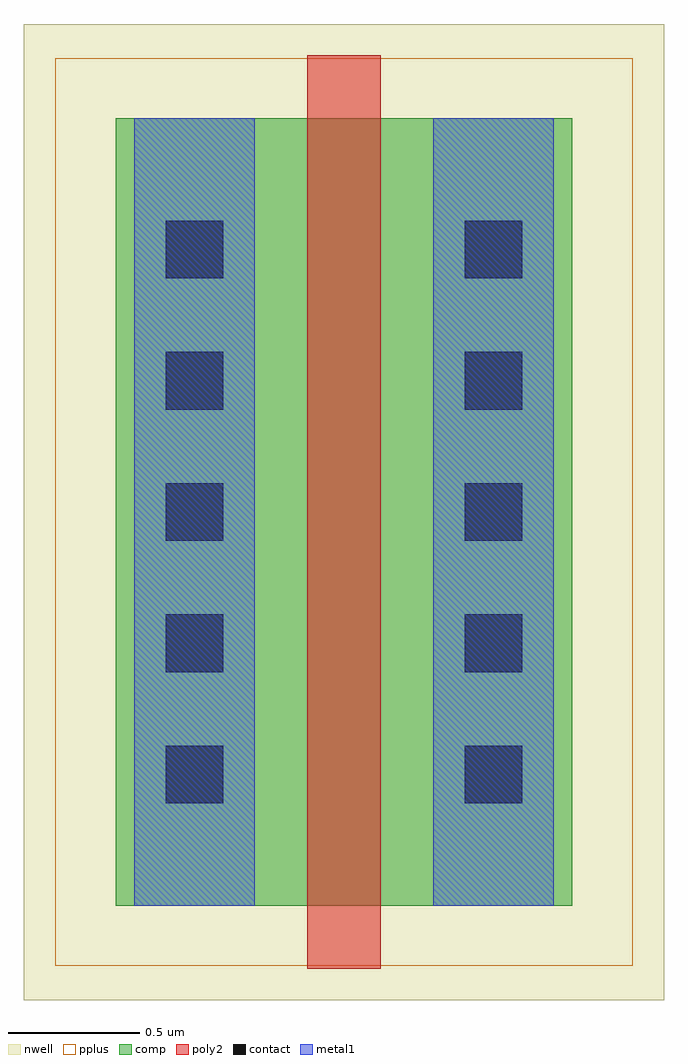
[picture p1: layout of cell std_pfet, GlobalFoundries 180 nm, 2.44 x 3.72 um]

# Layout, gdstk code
import gdstk
lib = gdstk.Library(unit=1e-6, precision=5e-09)
def R(c, l, rs):  # rectangles x0, y0, x1, y1
    for r in rs: c.add(gdstk.rectangle(r[:2], r[2:], *l))
def A(c, l, x, y, w, h, nx, ny, dx, dy):  # array of equal rectangles
    R(c, l, [(x+i*dx, y+j*dy, x+i*dx+w, y+j*dy+h) for i in range(nx) for j in range(ny)])
nwell = (21, 0)
comp = (22, 0)
poly2 = (30, 0)
pplus = (31, 0)
contact = (33, 0)
metal1 = (34, 0)

std_pfet = lib.new_cell('std_pfet')
R(std_pfet, nwell, [(-1.22,-1.86,1.22,1.86)])
R(std_pfet, comp, [(-0.87,-1.5,0.87,1.5)])
R(std_pfet, poly2, [(-0.14,-1.74,0.14,1.74)])
R(std_pfet, pplus, [(-1.1,-1.73,1.1,1.73)])
A(std_pfet, contact, -0.68, -1.11, 0.22, 0.22, 1, 5, 0, 0.5)
A(std_pfet, contact, 0.46, -1.11, 0.22, 0.22, 1, 5, 0, 0.5)
A(std_pfet, metal1, -0.8, -1.23, 0.46, 0.46, 1, 5, 0, 0.5)
A(std_pfet, metal1, 0.34, -1.23, 0.46, 0.46, 1, 5, 0, 0.5)
R(std_pfet, metal1, [(-0.8,-1.5,-0.34,1.5), (0.34,-1.5,0.8,1.5)])

lib.write_gds('std_pfet.gds')
